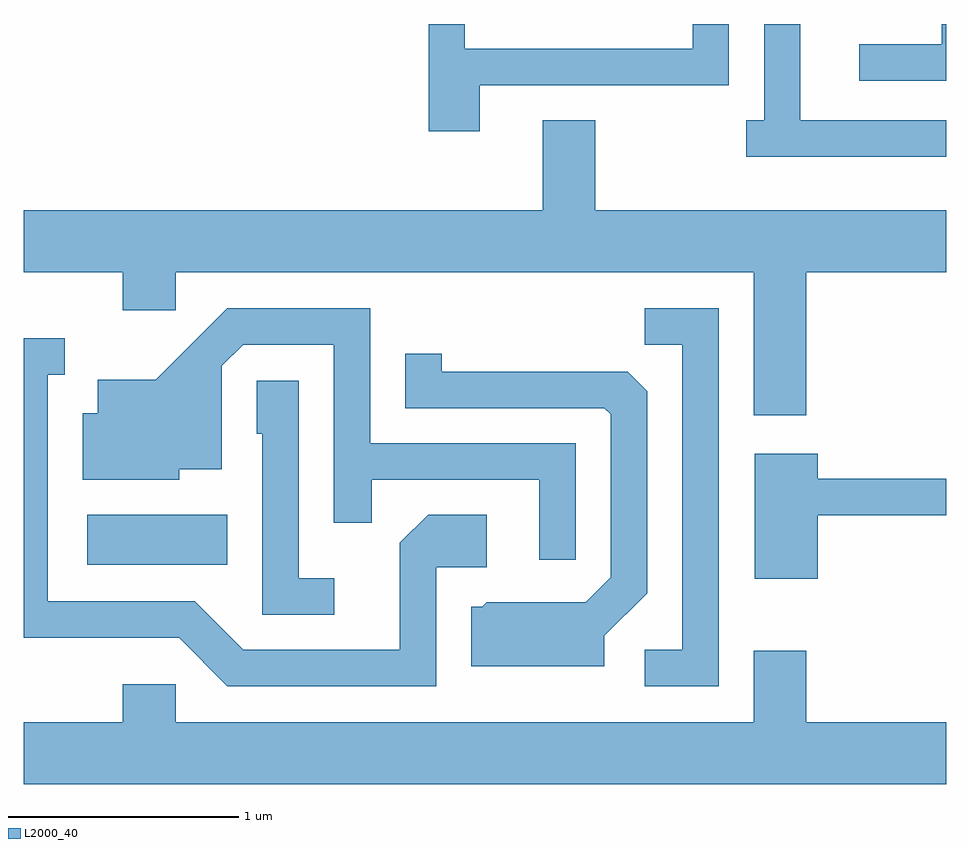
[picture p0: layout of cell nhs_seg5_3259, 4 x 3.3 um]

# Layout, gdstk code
import gdstk
lib = gdstk.Library(unit=1e-6, precision=1e-09)
def R(c, l, rs):  # rectangles x0, y0, x1, y1
    for r in rs: c.add(gdstk.rectangle(r[:2], r[2:], *l))
def P(c, l, *ps):  # polygons
    for p in ps: c.add(gdstk.Polygon(p, *l))
L2000_40 = (2000, 40)

nhs_seg5_3259 = lib.new_cell('nhs_seg5_3259')
R(nhs_seg5_3259, L2000_40, [(281.886,1477.726,282.494,1477.944)])
P(nhs_seg5_3259, L2000_40, [(285.611,1479.654),(284.979,1479.654),(284.979,1480.072),(284.821,1480.072),(284.821,1479.654),(284.743,1479.654),(284.743,1479.496),(285.611,1479.496)],
  [(283.589,1479.806),(284.669,1479.806),(284.669,1480.072),(284.511,1480.072),(284.511,1479.964),(283.524,1479.964),(283.524,1480.072),(283.366,1480.072),(283.366,1479.606),(283.589,1479.606)],
  [(285.611,1480.072),(285.591,1480.072),(285.591,1479.984),(285.233,1479.984),(285.233,1479.826),(285.611,1479.826)],
  [(284.776,1478.376),(285.004,1478.376),(285.004,1478.996),(285.611,1478.996),(285.611,1479.264),(284.089,1479.264),(284.089,1479.654),(283.861,1479.654),(283.861,1479.264),(281.611,1479.264),(281.611,1478.996),(282.041,1478.996),(282.041,1478.831),(282.269,1478.831),(282.269,1478.996),(284.776,1478.996)],
  [(284.004,1478.254),(283.114,1478.254),(283.114,1478.839),(282.494,1478.839),(282.184,1478.529),(281.931,1478.529),(281.931,1478.384),(281.866,1478.384),(281.866,1478.096),(282.284,1478.096),(282.284,1478.141),(282.469,1478.141),(282.469,1478.589),(282.562,1478.681),(282.956,1478.681),(282.956,1477.908),(283.119,1477.908),(283.119,1478.096),(283.846,1478.096),(283.846,1477.748),(284.004,1477.748)],
  [(284.624,1478.839),(284.303,1478.839),(284.303,1478.681),(284.466,1478.681),(284.466,1477.359),(284.303,1477.359),(284.303,1477.201),(284.624,1477.201)],
  [(283.399,1477.716),(283.619,1477.716),(283.619,1477.944),(283.364,1477.944),(283.241,1477.822),(283.241,1477.359),(282.562,1477.359),(282.352,1477.569),(281.714,1477.569),(281.714,1478.551),(281.788,1478.551),(281.788,1478.709),(281.611,1478.709),(281.611,1477.411),(282.284,1477.411),(282.494,1477.201),(283.399,1477.201)],
  [(284.129,1477.419),(284.314,1477.604),(284.314,1478.479),(284.229,1478.564),(283.424,1478.564),(283.424,1478.643),(283.266,1478.643),(283.266,1478.406),(284.129,1478.406),(284.156,1478.379),(284.156,1477.672),(284.049,1477.564),(283.619,1477.564),(283.599,1477.544),(283.551,1477.544),(283.551,1477.286),(284.129,1477.286)],
  [(282.958,1477.669),(282.804,1477.669),(282.804,1478.524),(282.621,1478.524),(282.621,1478.296),(282.646,1478.296),(282.646,1477.511),(282.958,1477.511)],
  [(285.054,1477.941),(285.611,1477.941),(285.611,1478.099),(285.054,1478.099),(285.054,1478.209),(284.781,1478.209),(284.781,1477.666),(285.054,1477.666)],
  [(285.611,1477.044),(285.004,1477.044),(285.004,1477.354),(284.776,1477.354),(284.776,1477.044),(282.269,1477.044),(282.269,1477.209),(282.041,1477.209),(282.041,1477.044),(281.611,1477.044),(281.611,1476.776),(285.611,1476.776)])

lib.write_gds('nhs_seg5_3259.gds')
